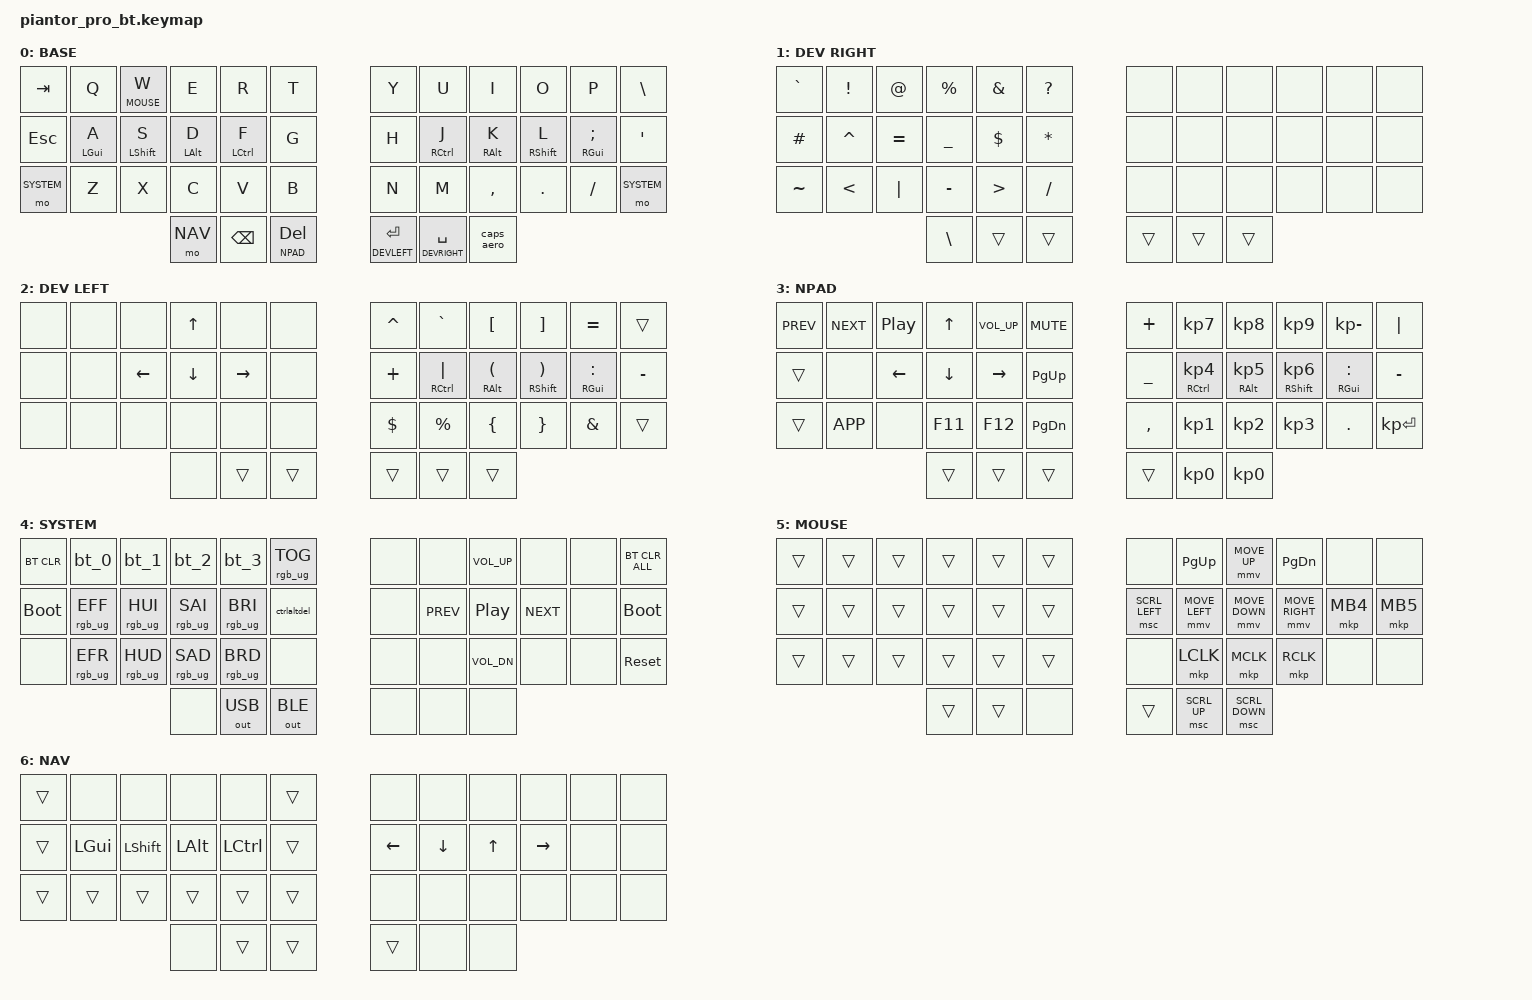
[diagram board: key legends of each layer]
/*
 * Copyright (c) 2020 The ZMK Contributors
 *
 * SPDX-License-Identifier: MIT
 */
// Key position definitions for home row mods (Piantor Pro BT 42)
#define KEYS_L 0 1 2 3 4 5 12 13 14 15 16 17 24 25 26 27 28 29  // Left-hand keys by number
#define KEYS_R 6 7 8 9 10 11 18 19 20 21 22 23 30 31 32 33 34 35  // Right-hand keys by number
#define THUMBS_L 36 37 38  // Left thumb keys (Piantor only has 3 per side)
#define THUMBS_R 39 40 41  // Right thumb keys

#include <behaviors.dtsi>
#include <dt-bindings/zmk/keys.h>
#include <dt-bindings/zmk/bt.h>
#include <dt-bindings/zmk/rgb.h>
#include <dt-bindings/zmk/ext_power.h>
#include <dt-bindings/zmk/outputs.h>
#include <dt-bindings/zmk/mouse.h>
#include "shared_behaviors.dtsi"

/ {
    chosen {
        zmk,physical-layout = &default_layout;
    };
};

/ {
    combos {
        compatible = "zmk,combos";
        /* ----- LEFT HAND ----- */
        combo_tilde {
            timeout-ms = <50>;
            require-prior-idle-ms = <150>;
            key-positions = <1 2>;
            layers = <BASE>;
            bindings = <&kp TILDE>;
        };
        combo_lparen {
            timeout-ms = <50>;
            require-prior-idle-ms = <150>;
            key-positions = <16 15>;
            layers = <BASE>;
            bindings = <&kp LPAR>;
        };
        combo_lbracket {
            timeout-ms = <50>;
            require-prior-idle-ms = <150>;
            key-positions = <14 15>;
            layers = <BASE>;
            bindings = <&kp LBKT>;
        };
        combo_lbrace {
            timeout-ms = <50>;
            require-prior-idle-ms = <150>;
            key-positions = <14 16>;
            layers = <BASE>;
            bindings = <&kp LBRC>;
        };
        combo_underscore {
            timeout-ms = <50>;
            require-prior-idle-ms = <150>;
            key-positions = <13 14>;
            layers = <BASE>;
            bindings = <&kp UNDERSCORE>;
        };
        /* ----- RIGHT HAND ----- */
        combo_rparen {
            timeout-ms = <50>;
            require-prior-idle-ms = <150>;
            key-positions = <19 20>;
            layers = <BASE>;
            bindings = <&kp RPAR>;
        };
        combo_rbracket {
            timeout-ms = <50>;
            require-prior-idle-ms = <150>;
            key-positions = <20 21>;
            layers = <BASE>;
            bindings = <&kp RBKT>;
        };
        combo_rbrace {
            timeout-ms = <50>;
            require-prior-idle-ms = <150>;
            key-positions = <19 21>;
            layers = <BASE>;
            bindings = <&kp RBRC>;
        };
        combo_hyphen {
            timeout-ms = <50>;
            require-prior-idle-ms = <150>;
            key-positions = <21 22>;
            layers = <BASE>;
            bindings = <&kp MINUS>;
        };
    };

    keymap {
        compatible = "zmk,keymap";
        BASE {
            display-name = "BASE";
            bindings = <
   &kp TAB      &kp Q        &ltl MOUSE W    &kp E           &kp R            &kp T                                            &kp Y                 &kp U             &kp I            &kp O              &kp P            &kp BSLH
   &kp ESC      &hml LGUI A  &hml LSHIFT S   &hml LALT D     &hml LCTRL F     &kp G                                            &kp H                 &hmr RCTRL J      &hmr RALT K      &hmr RSHIFT L      &hmr RGUI SEMI   &kp SINGLE_QUOTE
   &mo SYSTEM   &kp Z        &kp X           &kp C           &kp V            &kp B                                            &kp N                 &kp M             &kp COMMA        &kp DOT            &kp FSLH         &mo SYSTEM
                                                             &mo NAV          &kp BSPC      &ltlt NPAD DEL  &ltrt DEVLEFT RET  &ltrt DEVRIGHT SPACE  &caps_aero
            >;
        };
        DEVLEFT {
            display-name = "DEV RIGHT";
            bindings = <
   &kp GRAVE    &kp EXCL     &kp AT_SIGN     &kp PERCENT     &kp AMPERSAND    &kp QUESTION                                     &none                 &none             &none            &none              &none            &none
   &kp HASH     &kp CARET    &kp EQUAL       &kp UNDERSCORE  &kp DOLLAR       &kp STAR                                         &none                 &none             &none            &none              &none            &none
   &kp TILDE    &kp LT       &kp PIPE        &kp MINUS       &kp GT           &kp FSLH                                         &none                 &none             &none            &none              &none            &none
                                                             &kp BSLH         &trans        &trans          &trans             &trans                &trans
            >;
        };
        DEVRIGHT {
            display-name = "DEV LEFT";
            bindings = <
   &none        &none        &none           &kp UP_ARROW    &none            &none                                            &kp CARET             &kp GRAVE         &kp LBKT         &kp RBKT           &kp EQUAL        &trans
   &none        &none        &kp LEFT_ARROW  &kp DOWN_ARROW  &kp RIGHT_ARROW  &none                                            &kp PLUS              &hmr RCTRL PIPE   &hmr RALT LPAR   &hmr RSHIFT RPAR   &hmr RGUI COLON  &kp MINUS
   &none        &none        &none           &none           &none            &none                                            &kp DOLLAR            &kp PERCENT       &kp LBRC         &kp RBRC           &kp AMPERSAND    &trans
                                                             &none            &trans        &trans          &trans             &trans                &trans
            >;
        };
        NPAD {
            display-name = "NPAD";
            bindings = <
   &kp C_PREV   &kp C_NEXT   &kp C_PP        &kp UP_ARROW    &kp C_VOL_UP     &kp C_MUTE                                       &kp PLUS              &kp KP_N7         &kp KP_N8        &kp KP_N9          &kp KP_MINUS     &kp PIPE
   &trans       &none        &kp LEFT_ARROW  &kp DOWN_ARROW  &kp RIGHT_ARROW  &kp PG_UP                                        &kp UNDERSCORE        &hmr RCTRL KP_N4  &hmr RALT KP_N5  &hmr RSHIFT KP_N6  &hmr RGUI COLON  &kp MINUS
   &trans       &kp K_APP    &none           &kp F11         &kp F12          &kp PG_DN                                        &kp COMMA             &kp KP_N1         &kp KP_N2        &kp KP_N3          &kp PERIOD       &kp KP_ENTER
                                                             &trans           &trans        &trans          &trans             &kp KP_N0             &kp KP_N0
            >;
        };
        SYSTEM {
            display-name = "SYSTEM";
            bindings = <
   &bt BT_CLR         &bt_0              &bt_1              &bt_2              &bt_3              &rgb_ug RGB_TOG                                  &none                 &none             &kp C_VOL_UP     &none              &none            &bt BT_CLR_ALL
   &bootloader        &rgb_ug RGB_EFF    &rgb_ug RGB_HUI    &rgb_ug RGB_SAI    &rgb_ug RGB_BRI    &ctrlaltdel                                      &none                 &kp C_PREV        &kp C_PP         &kp C_NEXT         &none            &bootloader
   &none              &rgb_ug RGB_EFR    &rgb_ug RGB_HUD    &rgb_ug RGB_SAD    &rgb_ug RGB_BRD    &none                                            &none                 &none             &kp C_VOL_DN     &none              &none            &sys_reset
                                                                                &none              &out OUT_USB  &out OUT_BLE    &none              &none                 &none
            >;
        };
        MOUSE {
            display-name = "MOUSE";
            bindings = <
   &trans       &trans       &trans          &trans          &trans           &trans                                           &none                 &kp PG_UP         &mmv MOVE_UP     &kp PG_DN          &none            &none
   &trans       &trans       &trans          &trans          &trans           &trans                                           &msc SCRL_LEFT        &mmv MOVE_LEFT    &mmv MOVE_DOWN   &mmv MOVE_RIGHT    &mkp MB4         &mkp MB5
   &trans       &trans       &trans          &trans          &trans           &trans                                           &none                 &mkp LCLK         &mkp MCLK        &mkp RCLK          &none            &none
                                                             &trans           &trans        &none           &trans             &msc SCRL_UP          &msc SCRL_DOWN
            >;
        };
        NAV {
            display-name = "NAV";
            bindings = <
   &trans       &none        &none           &none           &none            &trans                                           &none                 &none             &none            &none              &none            &none
   &trans       &kp LGUI     &kp LSHIFT      &kp LALT        &kp LCTRL        &trans                                           &kp LEFT_ARROW        &kp DOWN_ARROW    &kp UP_ARROW     &kp RIGHT_ARROW    &none            &none
   &trans       &trans       &trans          &trans          &trans           &trans                                           &none                 &none             &none            &none              &none            &none
                                                             &none            &trans        &trans          &trans             &none                 &none
            >;
        };
    };
};
